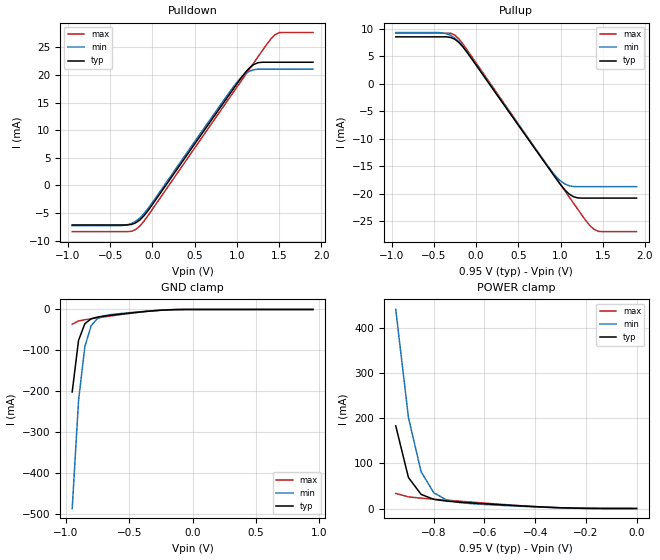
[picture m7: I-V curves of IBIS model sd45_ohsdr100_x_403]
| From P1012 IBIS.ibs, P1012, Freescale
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[Model]   sd45_ohsdr100_x_403
Model_type 3-state
Enable Active-High
Polarity Non-Inverting
|   TYP   MIN   MAX
C_comp   1.60pF   1.60pF   1.67pF
[Model Spec]
Vmeas   0.475   0.425   0.605
[Voltage Range]   0.95   0.85   1.21
[Temperature Range] 65   125   -40
[Driver Schedule]
| Model_Name  Rise_on_dly   Rise_off_dly   Fall_on_dly   Fall_off_dly
sd45_ohsdr100_x_40   0ps   NA   0ps   NA
sd45_ohsdr100_x_43   800ps   NA   800ps   NA
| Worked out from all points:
|   slope of the pulldown table from 0 to 0.142 V, typ, clamps not added: 45.7 ohm
|   slope of the pullup table from 0 to 0.142 V, typ, clamps not added: 45.5 ohm
|   GND clamp passes 1 mA (typ) near -0.19 V on its own axis
|   POWER clamp passes 1 mA (typ) near -0.25 V on its own axis
[Pullup]
|   Vout(V)   TYP   WCS   BCS
-950mV    8.533mA    9.319mA    9.19mA
-400mV    8.533mA    9.264mA    9.19mA
-250mV    8.088mA    8.312mA    8.847mA
-100mV    5.595mA    5.69mA     6.03mA
800mV     -14.07mA   -13.94mA   -13.96mA
1V        -18.36mA   -17.7mA    -18.37mA
1.1V      -20.07mA   -18.57mA   -20.58mA
1.15V     -20.56mA   -18.73mA   -21.68mA
1.3V      -20.83mA   -18.75mA   -24.94mA
1.4V      -20.83mA   -18.75mA   -26.56mA
1.5V      -20.83mA   -18.75mA   -26.95mA
1.9V      -20.83mA   -18.75mA   -26.95mA
[Pulldown]
|   Vout(V)   TYP   WCS   BCS
-950mV    -7.174mA   -7.31mA    -8.383mA
-350mV    -7.174mA   -7.267mA   -8.383mA
-250mV    -7.08mA    -6.904mA   -8.331mA
-150mV    -6.282mA   -5.916mA   -7.391mA
0V        -3.456mA   -3.082mA   -4.305mA
950mV     17.31mA    17.69mA    16.7mA
1.1V      20.47mA    20.23mA    20mA
1.2V      21.9mA     20.94mA    22.2mA
1.25V     22.22mA    21.05mA    23.3mA
1.45V     22.3mA     21.05mA    27.27mA
1.5V      22.3mA     21.05mA    27.66mA
1.9V      22.3mA     21.05mA    27.68mA
[GND Clamp]
|   Vout(V)   TYP   WCS   BCS
-950mV    -201.6mA   -486.5mA   -36.16mA
-900mV    -75.75mA   -222.9mA   -28.05mA
-850mV    -34.66mA   -90.59mA   -25.11mA
-800mV    -22.71mA   -39.37mA   -22.78mA
-750mV    -18.57mA   -21.91mA   -20.52mA
-700mV    -16.25mA   -15.71mA   -18.29mA
-650mV    -14.32mA   -12.88mA   -16.07mA
-400mV    -5.858mA   -5.175mA   -5.911mA
-200mV    -1.108mA   -1.072mA   -756.7uA
950mV     70.01uA    122.9uA    16.34uA
[POWER Clamp]
|   Vout(V)   TYP   WCS   BCS
-950mV    183.5mA    442.2mA    33.42mA
-900mV    68.86mA    202.2mA    25.88mA
-850mV    31.34mA    81.75mA    23.04mA
-800mV    20.35mA    35.06mA    20.76mA
-750mV    16.45mA    19.08mA    18.55mA
-700mV    14.21mA    13.35mA    16.36mA
-650mV    12.35mA    10.71mA    14.18mA
-300mV    1.805mA    1.559mA    1.409mA
0V        0A         0A         0A
[Ramp]
R_load=50.00
dV/dt_r  1.9939e-01/6.4174e-11  1.7268e-01/6.5633e-11  2.6621e-01/6.5297e-11
dV/dt_f  1.9939e-01/6.5911e-11  1.7267e-01/6.8201e-11  2.6623e-01/6.6334e-11
